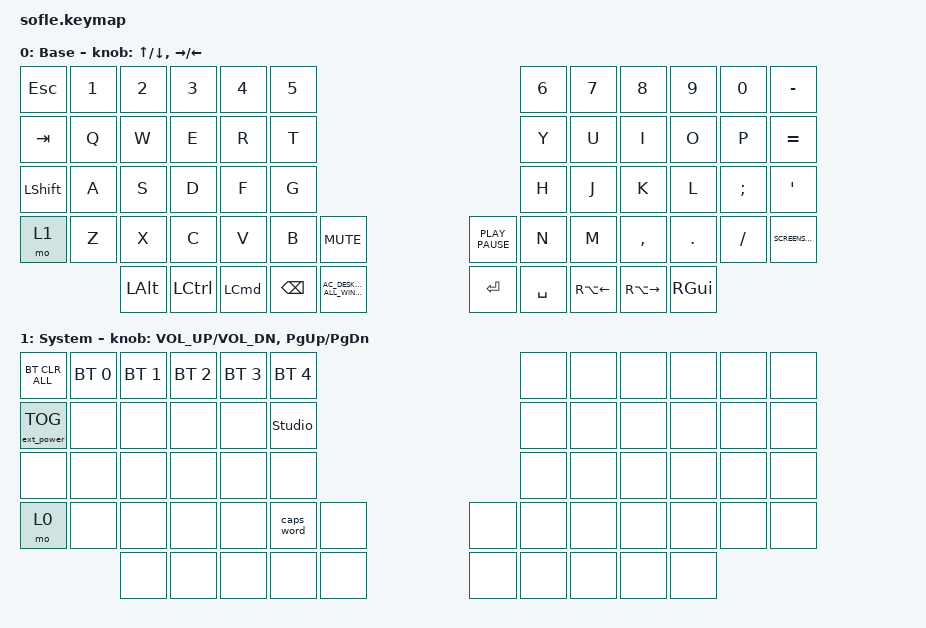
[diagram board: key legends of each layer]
/*
 * Copyright (c) 2020 The ZMK Contributors
 *
 * SPDX-License-Identifier: MIT
 */

#include <behaviors.dtsi>
#include <dt-bindings/zmk/bt.h>
#include <dt-bindings/zmk/ext_power.h>
#include <dt-bindings/zmk/keys.h>

#define BASE 0
#define LOWER 1
#define RAISE 2
#define ADJUST 3

/ {
    // Activate ADJUST layer by pressing raise and lower

    conditional_layers {
        compatible = "zmk,conditional-layers";

        adjust_layer {
            if-layers = <1 1>;
            then-layer = <1>;
        };
    };

    combos {
        compatible = "zmk,combos";

        backspace {
            bindings = <&kp BACKSPACE>;
            key-positions = <32 31>;
        };

        delete {
            bindings = <&kp DELETE>;
            key-positions = <27 33>;
        };

        esc {
            bindings = <&kp ESCAPE>;
            key-positions = <25 41>;
        };
    };

    behaviors {
        caps: caps {
            compatible = "zmk,behavior-caps-word";
            label = "CAPS";
            #binding-cells = <0>;
            continue-list = <POUND MINUS BACKSPACE UNDERSCORE>;
        };
    };

    keymap {
        compatible = "zmk,keymap";

        default_layer {
            display-name = "Base";

            // ------------------------------------------------------------------------------------------------------------
            // |   `   |  1  |  2  |  3   |  4   |  5   |                   |  6   |  7    |  8    |  9   |   0   |       |
            // |  ESC  |  Q  |  W  |  E   |  R   |  T   |                   |  Y   |  U    |  I    |  O   |   P   | BKSPC |
            // |  TAB  |  A  |  S  |  D   |  F   |  G   |                   |  H   |  J    |  K    |  L   |   ;   |   '   |
            // | SHIFT |  Z  |  X  |  C   |  V   |  B   |  MUTE  |  |       |  N   |  M    |  ,    |  .   |   /   | SHIFT |
            //               | GUI | ALT  | CTRL | LOWER|  ENTER |  | SPACE | RAISE| CTRL  | ALT   | GUI  |

            bindings = <
&kp ESC         &kp N1  &kp N2        &kp N3     &kp N4            &kp N5                                                                &kp N6     &kp N7        &kp N8               &kp N9    &kp N0    &kp MINUS
&kp TAB         &kp Q   &kp W         &kp E      &kp R             &kp T                                                                 &kp Y      &kp U         &kp I                &kp O     &kp P     &kp EQUAL
&kp LEFT_SHIFT  &kp A   &kp S         &kp D      &kp F             &kp G                                                                 &kp H      &kp J         &kp K                &kp L     &kp SEMI  &kp SQT
&mo 1           &kp Z   &kp X         &kp C      &kp V             &kp B          &kp K_MUTE                           &kp K_PLAY_PAUSE  &kp N      &kp M         &kp COMMA            &kp DOT   &kp FSLH  &kp K_SCREENSAVER
                        &kp LEFT_ALT  &kp LCTRL  &kp LEFT_COMMAND  &kp BACKSPACE  &kp C_AC_DESKTOP_SHOW_ALL_WINDOWS    &kp ENTER         &kp SPACE  &kp RA(LEFT)  &kp RA(RIGHT_ARROW)  &kp RGUI
            >;

            sensor-bindings = <&inc_dec_kp UP DOWN>, <&inc_dec_kp RIGHT LEFT>;
        };

        adjust_layer {
            // ----------------------------------------------------------------------------------------------------------------------------
            // | BTCLR  |  BT1    |  BT2    |   BT3   |   BT4   |   BT5   |                  |      |      |       |      |       |       |
            // | EXTPWR | RGB_HUD | RGB_HUI | RGB_SAD | RGB_SAI | RGB_EFF |                  |      |      |       |      |       |       |
            // |        | RGB_BRD | RGB_BRI |         |         |         |                  |      |      |       |      |       |       |
            // |        |         |         |         |         |         | RGB_TOG | |      |      |      |       |      |       |       |
            //                    |         |         |         |         |         | |      |      |      |       |      |

            display-name = "System";
            bindings = <
&bt BT_CLR_ALL     &bt BT_SEL 0  &bt BT_SEL 1  &bt BT_SEL 2  &bt BT_SEL 3  &bt BT_SEL 4                    &none  &none  &none  &none  &none  &none
&ext_power EP_TOG  &none         &none         &none         &none         &studio_unlock                  &none  &none  &none  &none  &none  &none
&none              &none         &none         &none         &none         &none                           &none  &none  &none  &none  &none  &none
&mo 0              &none         &none         &none         &none         &caps_word      &none    &none  &none  &none  &none  &none  &none  &none
                                 &none         &none         &none         &none           &none    &none  &none  &none  &none  &none
            >;

            sensor-bindings = <&inc_dec_kp C_VOL_UP C_VOL_DN &inc_dec_kp PG_UP PG_DN>;
        };
    };
};
